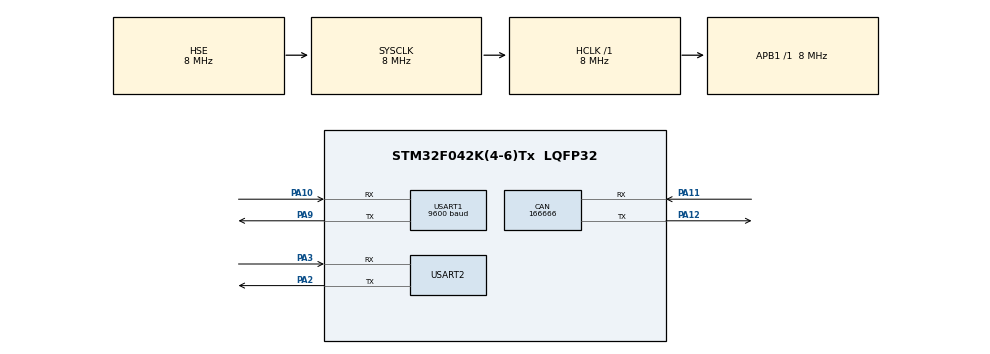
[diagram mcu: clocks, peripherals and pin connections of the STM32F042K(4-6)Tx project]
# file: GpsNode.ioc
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CAN.CalculateBaudRate=166666
CAN.CalculateTimeBit=6000
CAN.CalculateTimeQuantum=2000.0
Dma.Request0=USART1_RX
Dma.Request1=USART2_RX
Dma.USART1_RX.0.Direction=DMA_PERIPH_TO_MEMORY
Dma.USART1_RX.0.Instance=DMA1_Channel3
Dma.USART1_RX.0.MemDataAlignment=DMA_MDATAALIGN_BYTE
Dma.USART1_RX.0.MemInc=DMA_MINC_ENABLE
Dma.USART1_RX.0.Mode=DMA_NORMAL
Dma.USART1_RX.0.PeriphDataAlignment=DMA_PDATAALIGN_BYTE
Dma.USART1_RX.0.PeriphInc=DMA_PINC_DISABLE
Dma.USART1_RX.0.Priority=DMA_PRIORITY_LOW
Dma.USART2_RX.1.Direction=DMA_PERIPH_TO_MEMORY
Dma.USART2_RX.1.Instance=DMA1_Channel5
Dma.USART2_RX.1.MemDataAlignment=DMA_MDATAALIGN_BYTE
Dma.USART2_RX.1.MemInc=DMA_MINC_ENABLE
Dma.USART2_RX.1.Mode=DMA_NORMAL
Dma.USART2_RX.1.PeriphDataAlignment=DMA_PDATAALIGN_BYTE
Dma.USART2_RX.1.PeriphInc=DMA_PINC_DISABLE
Dma.USART2_RX.1.Priority=DMA_PRIORITY_LOW
Mcu.Family=STM32F0
Mcu.Name=STM32F042K(4-6)Tx
Mcu.Package=LQFP32
NVIC.DMA1_Channel2_3_IRQn=true\:0\:0\:false\:false\:true\:false\:true\:true
NVIC.DMA1_Channel4_5_IRQn=true\:0\:0\:false\:false\:true\:false\:true\:true
NVIC.USART1_IRQn=true\:0\:0\:false\:false\:true\:true\:true\:true
NVIC.USART2_IRQn=true\:0\:0\:false\:false\:true\:true\:true\:true
PA10.Mode=Asynchronous
PA10.Signal=USART1_RX
PA11.Mode=CAN_Activate
PA11.Signal=CAN_RX
PA12.Mode=CAN_Activate
PA12.Signal=CAN_TX
PA13.GPIO_Label=SWDIO
PA13.Mode=Serial_Wire
PA13.Signal=SYS_SWDIO
PA14.GPIO_Label=SWCLK
PA14.Mode=Serial_Wire
PA14.Signal=SYS_SWCLK
PA2.Mode=Asynchronous
PA2.Signal=USART2_TX
PA3.Mode=Asynchronous
PA3.Signal=USART2_RX
PA9.Mode=Asynchronous
PA9.Signal=USART1_TX
PF0-OSC_IN.GPIO_Label=MCO
PF0-OSC_IN.Mode=HSE-External-Oscillator
PF0-OSC_IN.Signal=RCC_OSC_IN
PF1-OSC_OUT.Mode=HSE-External-Oscillator
PF1-OSC_OUT.Signal=RCC_OSC_OUT
ProjectManager.HeapSize=0x200
ProjectManager.StackSize=0x400
ProjectManager.TargetToolchain=STM32CubeIDE
RCC.AHBFreq_Value=8000000
RCC.APB1Freq_Value=8000000
RCC.APB1TimFreq_Value=8000000
RCC.HCLKFreq_Value=8000000
RCC.PLLSourceVirtual=RCC_PLLSOURCE_HSE
RCC.SYSCLKFreq_VALUE=8000000
RCC.SYSCLKSource=RCC_SYSCLKSOURCE_HSE
USART1.BaudRate=9600
USART1.SwapParam=ADVFEATURE_SWAP_ENABLE
USART1.VirtualMode-Asynchronous=VM_ASYNC
USART2.VirtualMode-Asynchronous=VM_ASYNC
board=NUCLEO-F042K6

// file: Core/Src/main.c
/* USER CODE BEGIN Header */
/**
 ******************************************************************************
 * @file           : main.c
 * @brief          : Main program body
 ******************************************************************************
 * @attention
 *
 * Copyright (c) 2026 STMicroelectronics.
 * All rights reserved.
 *
 * This software is licensed under terms that can be found in the LICENSE file
 * in the root directory of this software component.
 * If no LICENSE file comes with this software, it is provided AS-IS.
 *
 ******************************************************************************
 */
/* USER CODE END Header */
#include "main.h"

/* USER CODE BEGIN Includes */
#include "nmea_parse.h"
#include <stdio.h>
/* USER CODE END Includes */

CAN_HandleTypeDef hcan;

UART_HandleTypeDef huart1;
UART_HandleTypeDef huart2;
DMA_HandleTypeDef hdma_usart1_rx;
DMA_HandleTypeDef hdma_usart2_rx;

/* USER CODE BEGIN PV */
#define RxBuffer_SIZE 64  //configure uart receive buffer size
#define DataBuffer_SIZE 512 //gather a few rxBuffer frames before parsing

// Functions for UART receiving, based on the DMA receive function, implementations may vary
uint16_t oldPos = 0;
uint16_t newPos = 0;
uint8_t RxBuffer[RxBuffer_SIZE];
uint8_t DataBuffer[DataBuffer_SIZE];

//create a GPS data structure
GPS myData;
/* USER CODE END PV */

void SystemClock_Config(void);
static void MX_GPIO_Init(void);
static void MX_DMA_Init(void);
static void MX_CAN_Init(void);
static void MX_USART1_UART_Init(void);
static void MX_USART2_UART_Init(void);

/* USER CODE BEGIN 0 */
/*
 * UART buffer handler based on the DMA receive function, every implementation is valid,
 * as long as you pass a sufficiently long receive buffer to the library.
 * */
void HAL_UARTEx_RxEventCallback(UART_HandleTypeDef *huart, uint16_t Size) {
	oldPos = newPos; //keep track of the last position in the buffer
	if (oldPos + Size > DataBuffer_SIZE) { //if the buffer is full, parse it, then reset the buffer

		uint16_t datatocopy = DataBuffer_SIZE - oldPos; // find out how much space is left in the main buffer
		memcpy((uint8_t*) DataBuffer + oldPos, RxBuffer, datatocopy); // copy data in that remaining space

		oldPos = 0;  // point to the start of the buffer
		memcpy((uint8_t*) DataBuffer, (uint8_t*) RxBuffer + datatocopy,
				(Size - datatocopy));  // copy the remaining data
		newPos = (Size - datatocopy);  // update the position
	} else {
		memcpy((uint8_t*) DataBuffer + oldPos, RxBuffer, Size); //copy received data to the buffer
		newPos = Size + oldPos; //update buffer position

	}
	HAL_UART_Receive_DMA(&huart1, (uint8_t*) RxBuffer, RxBuffer_SIZE); //re-enable the DMA interrupt
	//__HAL_DMA_DISABLE_IT(&hdma_usart1_rx, DMA_IT_HT); //disable the half transfer interrupt
}
/* USER CODE END 0 */

int main(void)
{

  /* MCU Configuration--------------------------------------------------------*/

  /* Reset of all peripherals, Initializes the Flash interface and the Systick. */
  HAL_Init();

  /* Configure the system clock */
  SystemClock_Config();

  /* Initialize all configured peripherals */
  MX_GPIO_Init();
  MX_DMA_Init();
  MX_CAN_Init();
  MX_USART1_UART_Init();
  MX_USART2_UART_Init();
  /* USER CODE BEGIN 2 */
	HAL_UART_Receive_DMA(&huart1, (uint8_t*) RxBuffer, RxBuffer_SIZE);
	//__HAL_DMA_DISABLE_IT(&hdma_usart1_rx, DMA_IT_HT);
	int Serialcnt = 0;
  /* USER CODE END 2 */

  /* Infinite loop */
  /* USER CODE BEGIN WHILE */
	while (1) {
		nmea_parse(&myData, DataBuffer);
		if (myData.fix == 1) { //if the GPS has a fix, print the data
			char *str = (char*) malloc(sizeof(char) * 200);
			sprintf(str,
					"\r\n%d: Lat: %i %c, Lon: %i %c, Alt: %i m, Satellites: %d HDOP: %i\r\n",
					Serialcnt, (int)myData.latitude, myData.latSide,
					(int)myData.longitude, myData.lonSide, (int)myData.altitude,
					myData.satelliteCount, (int)myData.hdop);
			HAL_UART_Transmit(&huart2, (uint8_t*) str, strlen(str), 1000);
			//Transmit last measure time for troubleshooting
			HAL_UART_Transmit(&huart2, (uint8_t*) myData.lastMeasure,
					strlen(myData.lastMeasure), 1000);
			HAL_Delay(1000);
			free(str);
		} else { //if the GPS doesn't have a fix, print a message
			char *str = (char*) malloc(sizeof(char) * 15);
			sprintf(str, "%d: No fix\r\n", Serialcnt);
			HAL_UART_Transmit(&huart2, str, strlen(str), 1000);
			HAL_Delay(5000);
			free(str);
		}
		Serialcnt++;
    /* USER CODE END WHILE */

	}
}

void SystemClock_Config(void)
{
  RCC_OscInitTypeDef RCC_OscInitStruct = {0};
  RCC_ClkInitTypeDef RCC_ClkInitStruct = {0};
  RCC_PeriphCLKInitTypeDef PeriphClkInit = {0};

  /** Initializes the RCC Oscillators according to the specified parameters
  * in the RCC_OscInitTypeDef structure.
  */
  RCC_OscInitStruct.OscillatorType = RCC_OSCILLATORTYPE_HSE;
  RCC_OscInitStruct.HSEState = RCC_HSE_ON;
  RCC_OscInitStruct.PLL.PLLState = RCC_PLL_NONE;
  if (HAL_RCC_OscConfig(&RCC_OscInitStruct) != HAL_OK)
  {
    Error_Handler();
  }

  /** Initializes the CPU, AHB and APB buses clocks
  */
  RCC_ClkInitStruct.ClockType = RCC_CLOCKTYPE_HCLK|RCC_CLOCKTYPE_SYSCLK
                              |RCC_CLOCKTYPE_PCLK1;
  RCC_ClkInitStruct.SYSCLKSource = RCC_SYSCLKSOURCE_HSE;
  RCC_ClkInitStruct.AHBCLKDivider = RCC_SYSCLK_DIV1;
  RCC_ClkInitStruct.APB1CLKDivider = RCC_HCLK_DIV1;

  if (HAL_RCC_ClockConfig(&RCC_ClkInitStruct, FLASH_LATENCY_0) != HAL_OK)
  {
    Error_Handler();
  }
  PeriphClkInit.PeriphClockSelection = RCC_PERIPHCLK_USART1;
  PeriphClkInit.Usart1ClockSelection = RCC_USART1CLKSOURCE_PCLK1;
  if (HAL_RCCEx_PeriphCLKConfig(&PeriphClkInit) != HAL_OK)
  {
    Error_Handler();
  }
}

static void MX_CAN_Init(void)
{

  hcan.Instance = CAN;
  hcan.Init.Prescaler = 16;
  hcan.Init.Mode = CAN_MODE_NORMAL;
  hcan.Init.SyncJumpWidth = CAN_SJW_1TQ;
  hcan.Init.TimeSeg1 = CAN_BS1_1TQ;
  hcan.Init.TimeSeg2 = CAN_BS2_1TQ;
  hcan.Init.TimeTriggeredMode = DISABLE;
  hcan.Init.AutoBusOff = DISABLE;
  hcan.Init.AutoWakeUp = DISABLE;
  hcan.Init.AutoRetransmission = DISABLE;
  hcan.Init.ReceiveFifoLocked = DISABLE;
  hcan.Init.TransmitFifoPriority = DISABLE;
  if (HAL_CAN_Init(&hcan) != HAL_OK)
  {
    Error_Handler();
  }

}

static void MX_USART1_UART_Init(void)
{

  huart1.Instance = USART1;
  huart1.Init.BaudRate = 9600;
  huart1.Init.WordLength = UART_WORDLENGTH_8B;
  huart1.Init.StopBits = UART_STOPBITS_1;
  huart1.Init.Parity = UART_PARITY_NONE;
  huart1.Init.Mode = UART_MODE_TX_RX;
  huart1.Init.HwFlowCtl = UART_HWCONTROL_NONE;
  huart1.Init.OverSampling = UART_OVERSAMPLING_16;
  huart1.Init.OneBitSampling = UART_ONE_BIT_SAMPLE_DISABLE;
  huart1.AdvancedInit.AdvFeatureInit = UART_ADVFEATURE_SWAP_INIT;
  huart1.AdvancedInit.Swap = UART_ADVFEATURE_SWAP_ENABLE;
  if (HAL_UART_Init(&huart1) != HAL_OK)
  {
    Error_Handler();
  }

}

static void MX_USART2_UART_Init(void)
{

  huart2.Instance = USART2;
  huart2.Init.BaudRate = 38400;
  huart2.Init.WordLength = UART_WORDLENGTH_8B;
  huart2.Init.StopBits = UART_STOPBITS_1;
  huart2.Init.Parity = UART_PARITY_NONE;
  huart2.Init.Mode = UART_MODE_TX_RX;
  huart2.Init.HwFlowCtl = UART_HWCONTROL_NONE;
  huart2.Init.OverSampling = UART_OVERSAMPLING_16;
  huart2.Init.OneBitSampling = UART_ONE_BIT_SAMPLE_DISABLE;
  huart2.AdvancedInit.AdvFeatureInit = UART_ADVFEATURE_NO_INIT;
  if (HAL_UART_Init(&huart2) != HAL_OK)
  {
    Error_Handler();
  }

}

static void MX_DMA_Init(void)
{

  /* DMA controller clock enable */
  __HAL_RCC_DMA1_CLK_ENABLE();

  /* DMA interrupt init */
  /* DMA1_Channel2_3_IRQn interrupt configuration */
  HAL_NVIC_SetPriority(DMA1_Channel2_3_IRQn, 0, 0);
  HAL_NVIC_EnableIRQ(DMA1_Channel2_3_IRQn);
  /* DMA1_Channel4_5_IRQn interrupt configuration */
  HAL_NVIC_SetPriority(DMA1_Channel4_5_IRQn, 0, 0);
  HAL_NVIC_EnableIRQ(DMA1_Channel4_5_IRQn);

}

static void MX_GPIO_Init(void)
{
  GPIO_InitTypeDef GPIO_InitStruct = {0};

  /* GPIO Ports Clock Enable */
  __HAL_RCC_GPIOF_CLK_ENABLE();
  __HAL_RCC_GPIOA_CLK_ENABLE();
  __HAL_RCC_GPIOB_CLK_ENABLE();

  /*Configure GPIO pins : PA0 PA1 PA4 PA5
                           PA6 PA7 PA8 PA15 */
  GPIO_InitStruct.Pin = GPIO_PIN_0|GPIO_PIN_1|GPIO_PIN_4|GPIO_PIN_5
                          |GPIO_PIN_6|GPIO_PIN_7|GPIO_PIN_8|GPIO_PIN_15;
  GPIO_InitStruct.Mode = GPIO_MODE_ANALOG;
  GPIO_InitStruct.Pull = GPIO_NOPULL;
  HAL_GPIO_Init(GPIOA, &GPIO_InitStruct);

  /*Configure GPIO pins : PB0 PB1 PB3 PB4
                           PB5 PB6 PB7 PB8 */
  GPIO_InitStruct.Pin = GPIO_PIN_0|GPIO_PIN_1|GPIO_PIN_3|GPIO_PIN_4
                          |GPIO_PIN_5|GPIO_PIN_6|GPIO_PIN_7|GPIO_PIN_8;
  GPIO_InitStruct.Mode = GPIO_MODE_ANALOG;
  GPIO_InitStruct.Pull = GPIO_NOPULL;
  HAL_GPIO_Init(GPIOB, &GPIO_InitStruct);

}

void Error_Handler(void)
{
	__disable_irq();
	while (1) {
	}
}
